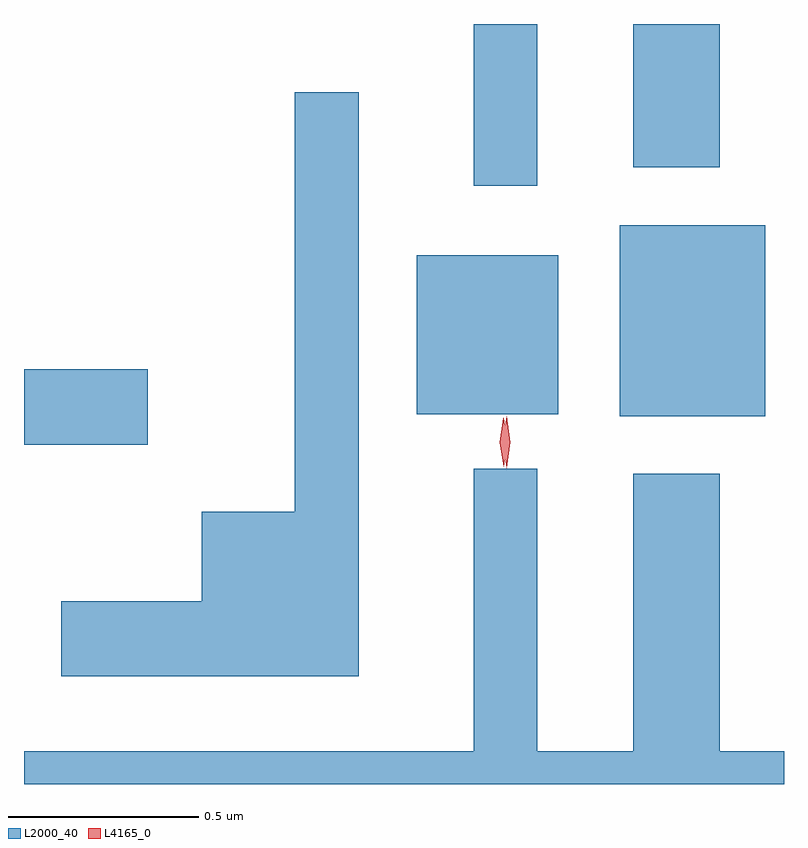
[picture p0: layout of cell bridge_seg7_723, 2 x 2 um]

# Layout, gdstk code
import gdstk
lib = gdstk.Library(unit=1e-6, precision=1e-09)
def R(c, l, rs):  # rectangles x0, y0, x1, y1
    for r in rs: c.add(gdstk.rectangle(r[:2], r[2:], *l))
def P(c, l, *ps):  # polygons
    for p in ps: c.add(gdstk.Polygon(p, *l))
L2000_40 = (2000, 40)
L4165_0 = (4165, 0)

bridge_seg7_723 = lib.new_cell('bridge_seg7_723')
R(bridge_seg7_723, L2000_40, [(870.468,1710.951,870.794,1711.149), (872.036,1711.026,872.419,1711.529), (871.501,1711.031,871.874,1711.449), (871.651,1711.633,871.819,1712.058), (872.071,1711.681,872.299,1712.058)])
P(bridge_seg7_723, L2000_40, [(871.349,1711.878),(871.181,1711.878),(871.181,1710.774),(870.936,1710.774),(870.936,1710.539),(870.566,1710.539),(870.566,1710.341),(871.349,1710.341)],
  [(872.468,1710.144),(872.299,1710.144),(872.299,1710.874),(872.071,1710.874),(872.071,1710.144),(871.819,1710.144),(871.819,1710.888),(871.651,1710.888),(871.651,1710.144),(870.468,1710.144),(870.468,1710.058),(872.468,1710.058)])
P(bridge_seg7_723, L4165_0, [(871.738,1710.889),(871.738,1710.89),(871.728,1710.958),(871.738,1711.026),(871.738,1711.026),(871.738,1711.026),(871.748,1710.958),(871.738,1710.89)],
  [(871.73,1710.893),(871.73,1710.893),(871.72,1710.957),(871.729,1711.021),(871.729,1711.022),(871.73,1711.021),(871.74,1710.957),(871.731,1710.893)])

lib.write_gds('bridge_seg7_723.gds')
